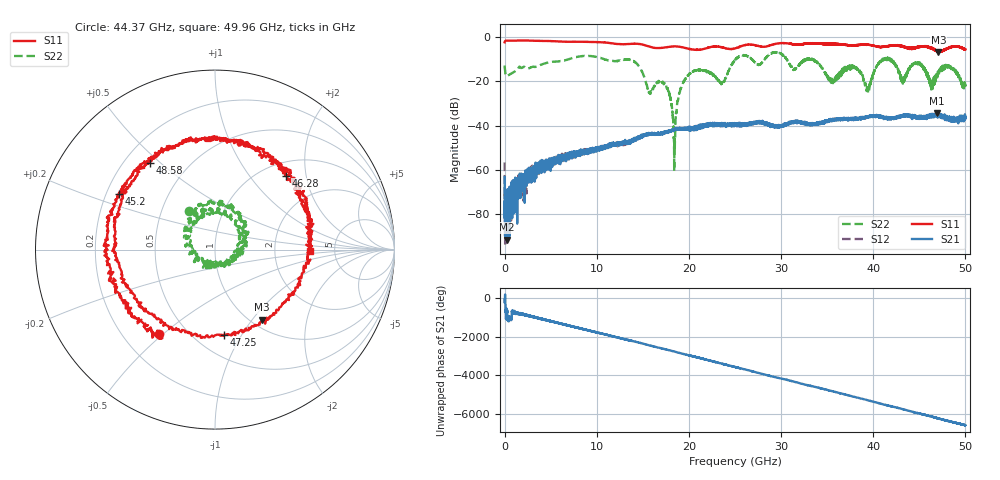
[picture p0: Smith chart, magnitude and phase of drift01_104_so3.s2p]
!Created with skrf (http://scikit-rf.org).
# Hz S RI R 50.0
!freq ReS11 ImS11 ReS21 ImS21 ReS12 ImS12 ReS22 ImS22
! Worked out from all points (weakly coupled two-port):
!   10001 points, 300 kHz to 50 GHz, reference 50 ohm
!   highest |S21| = -34.37 dB at 46.87 GHz (marker M1); lowest = -91.8 dB at 275.3 MHz (marker M2)
!   lowest |S11| = -6.5 dB at 47.07 GHz (marker M3), VSWR 2.78, Z = 56 - j56.2 ohm
!   |S11| at or under -10 dB: nowhere
!   |S22| runs from -60.7 to -6.6 dB; largest |S21 - S12| = 0.0037
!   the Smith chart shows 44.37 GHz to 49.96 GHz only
!   S11 on the Smith chart (normalised r, x): 44.37 GHz: 0.35, -0.48; 45.2 GHz: 0.25, +0.25; 46.28 GHz: 1.27, +1.54; 47.25 GHz: 0.68, -0.84; 48.58 GHz: 0.30, +0.46; 49.96 GHz: 3.23, -0.07
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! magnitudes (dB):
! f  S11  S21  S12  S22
! 300 kHz  -2.2  -63.5  -56.8  -12.8
! 275.3 MHz  -1.4  -91.8  -90.6  -17.5
! 8.335 GHz  -1.9  -52.1  -52.1  -8.5
! 16.67 GHz  -4.8  -43.8  -43.7  -20.0
! 17.74 GHz  -4.3  -42.8  -42.7  -24.1
! 18.44 GHz  -4.1  -41.7  -41.7  -47.6
! 19.93 GHz  -5.1  -41.4  -41.8  -17.2
! 23.6 GHz  -4.5  -40.1  -39.5  -20.6
! 25 GHz  -5.0  -39.9  -39.6  -10.3
! 33.34 GHz  -2.6  -39.8  -39.3  -9.9
! 39.46 GHz  -3.3  -35.8  -36.0  -23.0
! 41.67 GHz  -3.9  -37.0  -36.7  -9.9
! 43.18 GHz  -4.2  -35.5  -35.7  -19.1
! 44.37 GHz  -5.0  -35.8  -36.0  -11.7
! 45.2 GHz  -4.2  -36.5  -36.7  -12.4
! 46.28 GHz  -4.9  -35.6  -35.4  -22.3
! 46.87 GHz  -6.0  -34.4  -34.7  -17.3
! 47.07 GHz  -6.5  -35.9  -35.6  -16.2
! 47.25 GHz  -6.4  -35.6  -35.7  -15.8
! 48.58 GHz  -4.4  -37.1  -37.5  -14.4
! 49.96 GHz  -5.6  -37.3  -36.6  -20.6
! 50 GHz  -5.4  -36.4  -37.0  -22.3
